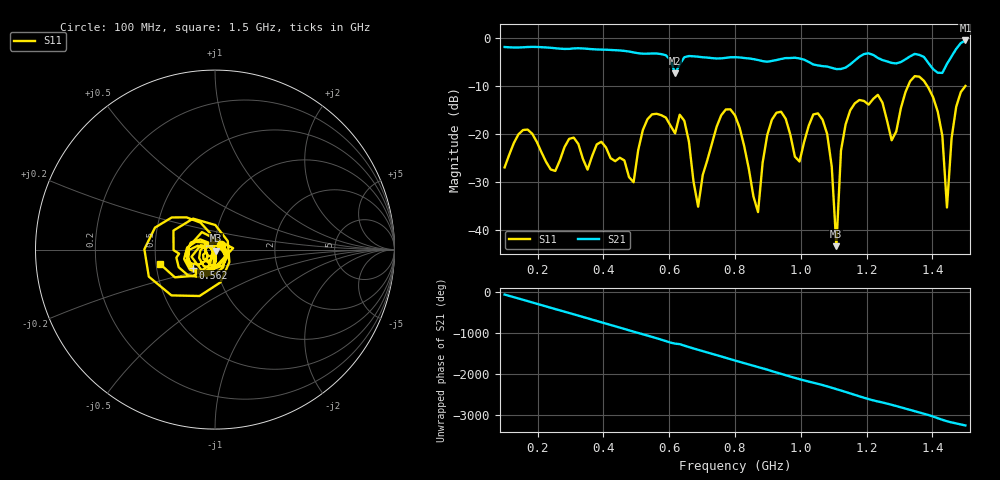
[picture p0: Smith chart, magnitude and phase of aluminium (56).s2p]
! NanoVNA-App
! Date: 2025-09-25 14:55:42
! Start: 100MHz Stop: 1,5GHz Points: 101
! S-Parameter data: F S11 S21 S12 S22
# Hz S RI R 50
!  Frequency  S11_Real  S11_Imag  S21_Real  S21_Imag  S12_Real  S12_Imag  S22_Real  S22_Imag
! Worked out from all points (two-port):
!   101 points, 100 MHz to 1.5 GHz, reference 50 ohm
!   highest |S21| = -0.56 dB at 1.5 GHz (marker M1); lowest = -7.4 dB at 618 MHz (marker M2)
!   |S21| within 3 dB of the highest: start of sweep to 585.3 MHz; 1.461 GHz to end of sweep (the widest 2 of 4)
!   lowest |S11| = -43.4 dB at 1.108 GHz (marker M3), VSWR 1.01, Z = 50.4 - j0.531 ohm
!   |S11| at or under -10 dB: start of sweep to 1.326 GHz; 1.384 GHz to end of sweep
!   S12 and S22 are empty: the file has one direction only
!   S11 on the Smith chart (normalised r, x): 100 MHz: 1.07, +0.06; 562 MHz: 0.76, -0.16; 1.5 GHz: 0.53, -0.10
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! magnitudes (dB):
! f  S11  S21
! 100 MHz  -27.0  -1.9
! 338 MHz  -25.2  -2.2
! 492 MHz  -30.1  -3.0
! 562 MHz  -15.8  -3.3
! 576 MHz  -16.1  -3.4
! 618 MHz  -19.9  -7.4
! 646 MHz  -17.3  -4.1
! 688 MHz  -35.2  -3.9
! 800 MHz  -16.2  -4.0
! 870 MHz  -36.3  -4.6
! 912 MHz  -17.1  -4.8
! 996 MHz  -25.8  -4.3
! 1.038 GHz  -16.0  -5.6
! 1.08 GHz  -20.0  -6.0
! 1.108 GHz  -43.4  -6.5
! 1.122 GHz  -23.5  -6.5
! 1.15 GHz  -15.1  -5.6
! 1.276 GHz  -21.4  -5.2
! 1.374 GHz  -9.0  -4.0
! 1.43 GHz  -20.4  -7.3
! 1.444 GHz  -35.4  -5.4
! 1.5 GHz  -10.0  -0.6
